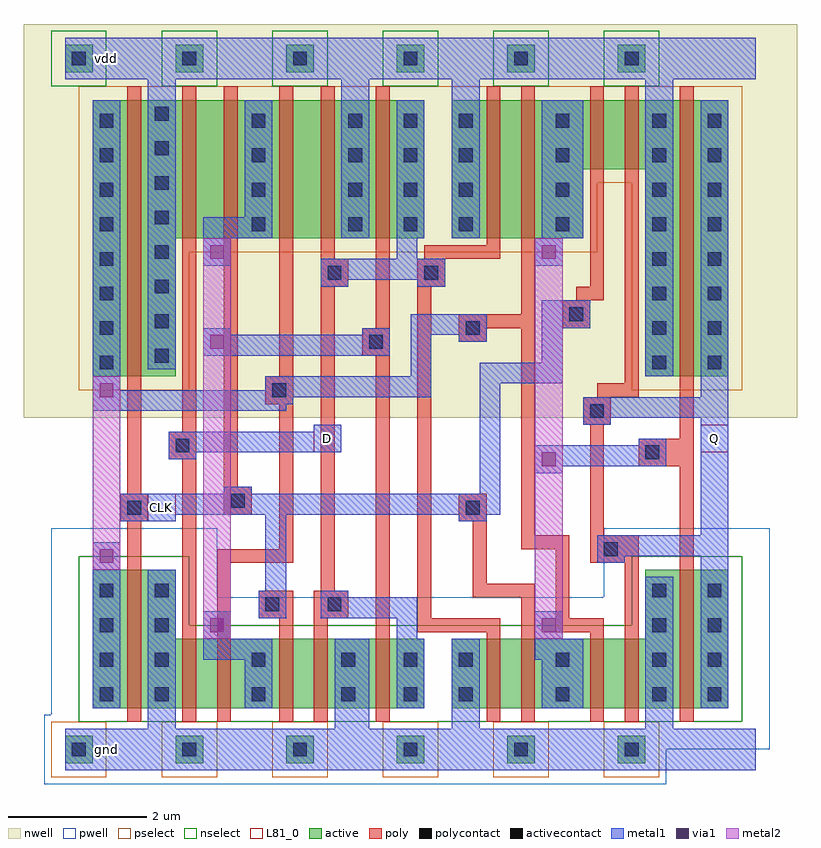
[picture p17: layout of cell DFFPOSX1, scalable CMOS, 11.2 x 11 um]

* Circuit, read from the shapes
.subckt DFFPOSX1 CLK D Q gnd vdd
M1 gnd CLK n1 gnd nfet w=2u l=0.2u
M2 n2 D gnd gnd nfet w=1u l=0.2u
M3 n3 n1 n2 gnd nfet w=1u l=0.2u
M4 n4 CLK n3 gnd nfet w=1u l=0.2u
M5 gnd n5 n4 gnd nfet w=1u l=0.2u
M6 n5 n3 gnd gnd nfet w=1u l=0.2u
M7 n6 n5 gnd gnd nfet w=1u l=0.2u
M8 n7 CLK n6 gnd nfet w=1u l=0.2u
M9 n8 n1 n7 gnd nfet w=1u l=0.2u
M10 gnd Q n8 gnd nfet w=1u l=0.2u
M11 Q n7 gnd gnd nfet w=2u l=0.2u
M12 vdd CLK n1 vdd pfet w=4u l=0.2u
M13 n9 D vdd vdd pfet w=2u l=0.2u
M14 n3 CLK n9 vdd pfet w=2u l=0.2u
M15 n10 n1 n3 vdd pfet w=2u l=0.2u
M16 vdd n5 n10 vdd pfet w=2u l=0.2u
M17 n5 n3 vdd vdd pfet w=2u l=0.2u
M18 n11 n5 vdd vdd pfet w=2u l=0.2u
M19 n7 n1 n11 vdd pfet w=2u l=0.2u
M20 n12 CLK n7 vdd pfet w=1u l=0.2u
M21 vdd Q n12 vdd pfet w=1u l=0.2u
M22 Q n7 vdd vdd pfet w=4u l=0.2u
.ends

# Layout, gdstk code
import gdstk
lib = gdstk.Library(unit=1e-6, precision=1e-09)
def R(c, l, rs):  # rectangles x0, y0, x1, y1
    for r in rs: c.add(gdstk.rectangle(r[:2], r[2:], *l))
def A(c, l, x, y, w, h, nx, ny, dx, dy):  # array of equal rectangles
    R(c, l, [(x+i*dx, y+j*dy, x+i*dx+w, y+j*dy+h) for i in range(nx) for j in range(ny)])
pwell = (41, 0)
nwell = (42, 0)
active = (43, 0)
pselect = (44, 0)
nselect = (45, 0)
poly = (46, 0)
polycontact = (47, 0)
activecontact = (48, 0)
metal1 = (49, 0)
via1 = (50, 0)
metal2 = (51, 0)
L81_0 = (81, 0)

dffposx1 = lib.new_cell('DFFPOSX1')
R(dffposx1, pwell, [(-0.5,-0.5,8.5,0), (-0.5,0,10,0.5), (-0.4,0.5,10,2.2), (-0.4,2.2,2,3.2), (7.6,2.2,10,3.2)])
R(dffposx1, nwell, [(-0.8,4.8,10.4,10.5)])
A(dffposx1, active, -0.2, -0.2, 0.4, 0.4, 6, 2, 1.6, 10)
R(dffposx1, active, [(0.2,0.6,5,1.6), (5.4,0.6,9.4,1.6), (0.2,1.6,1.4,2.6), (8.2,1.6,9.4,2.6), (0.2,5.4,1.4,7.4), (8.2,5.4,9.4,8.4), (0.2,7.4,5,9.4), (5.4,7.4,7.3,8.4), (5.4,8.4,9.4,9.4)])
A(dffposx1, pselect, -0.4, -0.4, 0.8, 0.8, 6, 1, 1.6, 0)
R(dffposx1, pselect, [(0,5.2,1.6,7.2), (8,5.2,9.6,8.2), (0,7.2,7.5,8.2), (0,8.2,9.6,9.6)])
A(dffposx1, nselect, -0.4, 9.6, 0.8, 0.8, 6, 1, 1.6, 0)
R(dffposx1, nselect, [(0,0.4,9.6,1.8), (0,1.8,1.6,2.8), (8,1.8,9.6,2.8)])
R(dffposx1, poly, [(0.7,0.4,0.9,3.3), (1.5,0.4,1.7,4.2), (2,0.4,2.2,2.7), (2.9,0.4,3.1,1.9), (3.4,0.4,3.6,1.9), (4.3,0.4,4.5,5.7), (5.9,0.4,6.1,1.7), (6.4,0.4,6.6,2.2), (7.4,0.4,7.6,1.7), (7.9,0.4,8.1,2.7), (8.7,0.4,8.9,4.1), (4.9,1.7,6.1,1.9), (6.9,1.7,7.6,1.9), (2.6,1.9,3.1,2.3), (3.4,1.9,3.9,2.3), (4.9,1.9,5.1,6.7), (6.9,1.9,7.1,2.9), (5.7,2.2,6.6,2.4), (3.5,2.3,3.7,6.7), (5.7,2.4,5.9,3.3), (2,2.7,3.1,2.9), (7.4,2.7,8.1,3.1), (2.9,2.9,3.1,5), (6.4,2.9,7.1,3.1), (6.4,3.1,6.6,6.1), (7.4,3.1,7.6,4.7), (0.6,3.3,1,3.7), (5.5,3.3,5.9,3.7), (2.1,3.4,2.5,3.8), (0.7,3.7,0.9,9.6), (2.1,3.8,2.3,9.6), (8.1,4.1,8.9,4.5), (1.3,4.2,1.7,4.6), (8.7,4.5,8.9,9.6), (1.5,4.6,1.7,9.6), (7.3,4.7,7.7,5.1), (2.7,5,3.1,5.4), (7.5,5.1,8.1,5.3), (7.9,5.3,8.1,9.6), (2.9,5.4,3.1,9.6), (4.1,5.7,4.5,6.1), (5.5,5.9,5.9,6.1), (4.3,6.1,4.5,9.6), (5.5,6.1,6.6,6.3), (7,6.1,7.4,6.5), (6.4,6.3,6.6,9.6), (7.2,6.5,7.6,6.7), (3.5,6.7,3.9,7.1), (4.9,6.7,5.3,7.1), (7.4,6.7,7.6,9.6), (3.5,7.1,3.7,9.6), (5,7.1,6.1,7.3), (5.9,7.3,6.1,9.6)])
R(dffposx1, polycontact, [(2.7,2,2.9,2.2), (3.6,2,3.8,2.2), (7.6,2.8,7.8,3), (0.7,3.4,0.9,3.6), (5.6,3.4,5.8,3.6), (2.2,3.5,2.4,3.7), (8.2,4.2,8.4,4.4), (1.4,4.3,1.6,4.5), (7.4,4.8,7.6,5), (2.8,5.1,3,5.3), (4.2,5.8,4.4,6), (5.6,6,5.8,6.2), (7.1,6.2,7.3,6.4), (3.6,6.8,3.8,7), (5,6.8,5.2,7)])
A(dffposx1, activecontact, -0.1, -0.1, 0.2, 0.2, 6, 2, 1.6, 10)
A(dffposx1, activecontact, 0.3, 0.7, 0.2, 0.2, 1, 4, 0, 0.5)
A(dffposx1, activecontact, 1.1, 0.7, 0.2, 0.2, 1, 4, 0, 0.5)
A(dffposx1, activecontact, 5.5, 0.7, 0.2, 0.2, 3, 2, 1.4, 0.5)
A(dffposx1, activecontact, 9.1, 0.7, 0.2, 0.2, 1, 4, 0, 0.5)
A(dffposx1, activecontact, 0.3, 5.5, 0.2, 0.2, 1, 8, 0, 0.5)
A(dffposx1, activecontact, 8.3, 5.5, 0.2, 0.2, 1, 8, 0, 0.5)
A(dffposx1, activecontact, 9.1, 5.5, 0.2, 0.2, 1, 8, 0, 0.5)
A(dffposx1, activecontact, 1.1, 5.6, 0.2, 0.2, 1, 8, 0, 0.5)
A(dffposx1, activecontact, 2.5, 7.5, 0.2, 0.2, 1, 4, 0, 0.5)
A(dffposx1, activecontact, 3.9, 7.5, 0.2, 0.2, 3, 4, 0.8, 0.5)
A(dffposx1, activecontact, 6.9, 7.5, 0.2, 0.2, 1, 4, 0, 0.5)
R(dffposx1, activecontact, [(2.5,0.7,2.7,0.9), (3.8,0.7,4,0.9), (4.7,0.7,4.9,0.9), (2.5,1.2,2.7,1.4), (3.8,1.2,4,1.4), (4.7,1.2,4.9,1.4), (8.3,1.7,8.5,1.9), (8.3,2.2,8.5,2.4)])
R(dffposx1, metal1, [(-0.2,-0.3,9.8,0.3), (1,0.3,1.4,2.6), (3.7,0.3,4.2,1.6), (5.4,0.3,5.8,1.6), (8.2,0.3,8.6,2.5), (0.2,0.6,0.6,3), (2.4,0.6,2.8,1.3), (4.6,0.6,5,1.6), (6.7,0.6,7.3,1.3), (9,0.6,9.4,2.8), (1.8,1.3,2.8,1.6), (6.6,1.3,7.3,1.6), (1.8,1.6,2.2,2), (4.6,1.6,4.9,1.9), (6.6,1.6,7,2), (2.6,1.9,3,2.3), (3.5,1.9,4.9,2.2), (3.5,2.2,3.9,2.3), (2.7,2.3,3,3.4), (7.5,2.7,7.9,2.8), (7.5,2.8,9.4,3.1), (9,3.1,9.4,4.8), (0.6,3.3,1.4,3.4), (5.5,3.3,5.9,3.4), (0.6,3.4,6.1,3.7), (2.1,3.7,2.5,3.8), (5.8,3.7,6.1,5.3), (6.6,4,7,4.1), (6.6,4.1,8.5,4.4), (1.3,4.2,1.7,4.3), (1.3,4.3,3.8,4.6), (8.1,4.4,8.5,4.5), (3.4,4.6,3.8,4.7), (7.3,4.7,7.7,4.8), (7.3,4.8,9.4,5.1), (0.2,4.9,3,5), (0.2,5,3.1,5.1), (0.2,5.1,5.1,5.2), (9,5.1,9.4,9.4), (0.2,5.2,0.6,9.4), (2.7,5.2,5.1,5.4), (5.8,5.3,7,5.6), (4.8,5.4,5.1,6), (8.2,5.4,8.6,9.7), (1,5.5,1.4,9.7), (6.7,5.6,7,6.1), (1.8,5.7,4.5,6), (5.5,5.9,5.9,6), (1.8,6,2.2,6.1), (4.1,6,4.5,6.1), (4.8,6,5.9,6.3), (6.7,6.1,7.4,6.5), (3.5,6.7,3.9,6.8), (4.9,6.7,5.3,6.8), (3.5,6.8,5.3,7.1), (1.8,7,2.2,7.4), (6.6,7,7,7.4), (4.6,7.1,4.9,7.4), (1.8,7.4,2.8,7.7), (3.8,7.4,4.2,9.7), (4.6,7.4,5,9.4), (5.4,7.4,5.8,9.7), (6.7,7.4,7.3,9.4), (2.4,7.7,2.8,9.4), (-0.2,9.7,9.8,10.3)])
R(dffposx1, via1, [(1.9,1.7,2.1,1.9), (6.7,1.7,6.9,1.9), (0.3,2.7,0.5,2.9), (6.7,4.1,6.9,4.3), (0.3,5.1,0.5,5.3), (1.9,5.8,2.1,6), (1.9,7.1,2.1,7.3), (6.7,7.1,6.9,7.3)])
R(dffposx1, metal2, [(1.8,1.6,2.2,7.4), (6.6,1.6,7,7.4), (0.2,2.6,0.6,5.4)])
R(dffposx1, L81_0, [(1,3.3,1.4,3.7), (3.4,4.3,3.8,4.7), (9,4.3,9.4,4.7)])
dffposx1.add(gdstk.Label('vdd', (0.4,10), layer=49, texttype=0))
dffposx1.add(gdstk.Label('D', (3.6,4.5), layer=49, texttype=0))
dffposx1.add(gdstk.Label('gnd', (0.4,0), layer=49, texttype=0))
dffposx1.add(gdstk.Label('Q', (9.2,4.5), layer=49, texttype=0))
dffposx1.add(gdstk.Label('CLK', (1.2,3.5), layer=49, texttype=0))

lib.write_gds('DFFPOSX1.gds')
